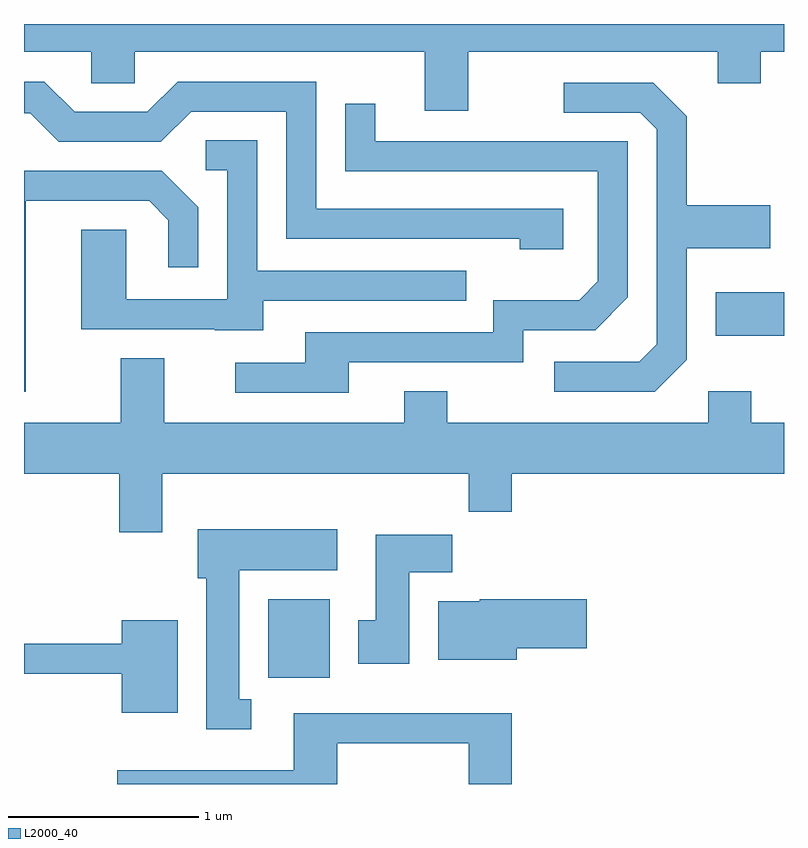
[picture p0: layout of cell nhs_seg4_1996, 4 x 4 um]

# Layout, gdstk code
import gdstk
lib = gdstk.Library(unit=1e-6, precision=1e-09)
def R(c, l, rs):  # rectangles x0, y0, x1, y1
    for r in rs: c.add(gdstk.rectangle(r[:2], r[2:], *l))
def P(c, l, *ps):  # polygons
    for p in ps: c.add(gdstk.Polygon(p, *l))
L2000_40 = (2000, 40)

nhs_seg4_1996 = lib.new_cell('nhs_seg4_1996')
R(nhs_seg4_1996, L2000_40, [(244.896,1302.541,245.219,1302.954), (247.251,1304.341,247.611,1304.569)])
P(nhs_seg4_1996, L2000_40, [(245.949,1305.836),(247.261,1305.836),(247.261,1305.671),(247.489,1305.671),(247.489,1305.836),(247.611,1305.836),(247.611,1305.982),(243.611,1305.982),(243.611,1305.836),(243.966,1305.836),(243.966,1305.671),(244.194,1305.671),(244.194,1305.836),(245.721,1305.836),(245.721,1305.526),(245.949,1305.526)],
  [(246.449,1305.009),(245.149,1305.009),(245.149,1305.679),(244.419,1305.679),(244.259,1305.519),(243.877,1305.519),(243.717,1305.679),(243.611,1305.679),(243.611,1305.511),(243.644,1305.511),(243.794,1305.361),(244.332,1305.361),(244.492,1305.521),(244.991,1305.521),(244.991,1304.851),(246.221,1304.851),(246.221,1304.796),(246.449,1304.796)],
  [(247.099,1304.214),(247.099,1304.801),(247.539,1304.801),(247.539,1305.029),(247.099,1305.029),(247.099,1305.497),(246.922,1305.674),(246.453,1305.674),(246.453,1305.516),(246.854,1305.516),(246.941,1305.429),(246.941,1304.297),(246.849,1304.204),(246.403,1304.204),(246.403,1304.046),(246.932,1304.046)],
  [(245.319,1304.201),(246.239,1304.201),(246.239,1304.371),(246.617,1304.371),(246.789,1304.544),(246.789,1305.364),(245.459,1305.364),(245.459,1305.563),(245.301,1305.563),(245.301,1305.206),(246.631,1305.206),(246.631,1304.627),(246.534,1304.529),(246.081,1304.529),(246.081,1304.359),(245.091,1304.359),(245.091,1304.199),(244.723,1304.199),(244.723,1304.041),(245.319,1304.041)],
  [(244.869,1304.526),(245.938,1304.526),(245.938,1304.684),(244.839,1304.684),(244.839,1305.369),(244.568,1305.369),(244.568,1305.211),(244.681,1305.211),(244.681,1304.534),(244.149,1304.534),(244.149,1304.899),(243.911,1304.899),(243.911,1304.376),(244.615,1304.376),(244.615,1304.371),(244.869,1304.371)],
  [(243.619,1305.051),(244.269,1305.051),(244.371,1304.949),(244.371,1304.703),(244.529,1304.703),(244.529,1305.017),(244.337,1305.209),(243.611,1305.209),(243.611,1304.046),(243.619,1304.046)],
  [(244.339,1303.616),(245.951,1303.616),(245.951,1303.416),(246.179,1303.416),(246.179,1303.616),(247.611,1303.616),(247.611,1303.884),(247.439,1303.884),(247.439,1304.049),(247.211,1304.049),(247.211,1303.884),(245.839,1303.884),(245.839,1304.049),(245.611,1304.049),(245.611,1303.884),(244.349,1303.884),(244.349,1304.224),(244.121,1304.224),(244.121,1303.884),(243.611,1303.884),(243.611,1303.616),(244.111,1303.616),(244.111,1303.306),(244.339,1303.306)],
  [(244.808,1302.429),(244.744,1302.429),(244.744,1303.106),(245.259,1303.106),(245.259,1303.324),(244.526,1303.324),(244.526,1303.066),(244.571,1303.066),(244.571,1302.271),(244.808,1302.271)],
  [(245.639,1303.096),(245.864,1303.096),(245.864,1303.294),(245.461,1303.294),(245.461,1302.844),(245.371,1302.844),(245.371,1302.616),(245.639,1302.616)],
  [(246.204,1302.696),(246.574,1302.696),(246.574,1302.954),(246.01,1302.954),(246.01,1302.944),(245.791,1302.944),(245.791,1302.636),(246.204,1302.636)],
  [(244.419,1302.844),(244.126,1302.844),(244.126,1302.719),(243.611,1302.719),(243.611,1302.561),(244.126,1302.561),(244.126,1302.356),(244.419,1302.356)],
  [(245.259,1302.196),(245.951,1302.196),(245.951,1301.982),(246.179,1301.982),(246.179,1302.354),(245.031,1302.354),(245.031,1302.054),(244.103,1302.054),(244.103,1301.982),(245.259,1301.982)])

lib.write_gds('nhs_seg4_1996.gds')
